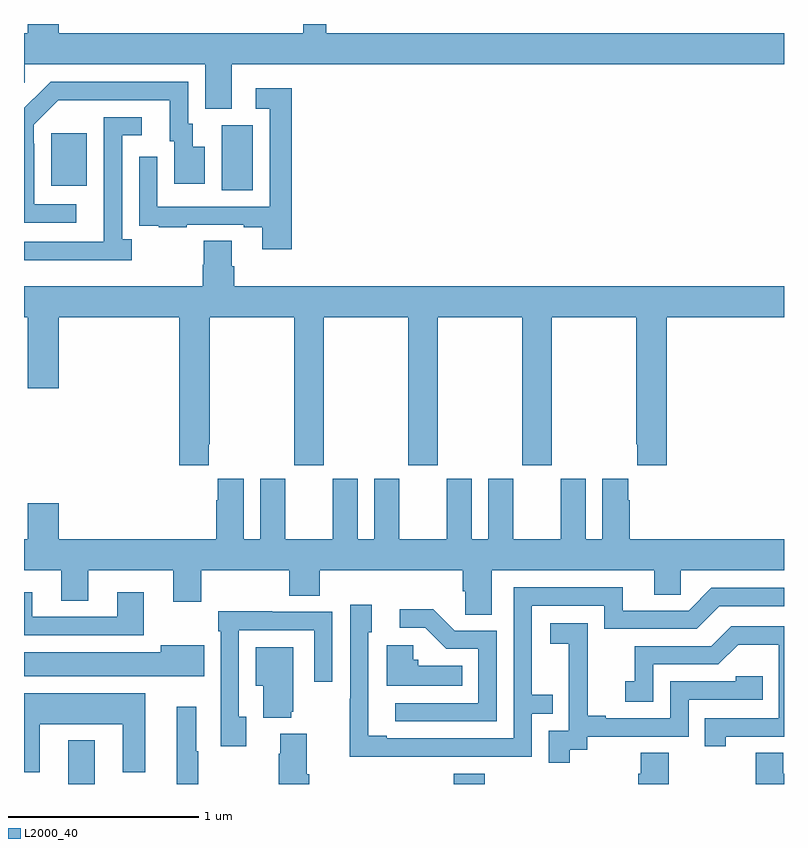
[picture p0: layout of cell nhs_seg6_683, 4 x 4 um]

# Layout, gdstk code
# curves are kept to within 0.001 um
import gdstk
lib = gdstk.Library(unit=1e-6, precision=1e-09)
def R(c, l, rs):  # rectangles x0, y0, x1, y1
    for r in rs: c.add(gdstk.rectangle(r[:2], r[2:], *l))
def P(c, l, *ps):  # polygons
    for p in ps: c.add(gdstk.Polygon(p, *l))
L2000_40 = (2000, 40)

nhs_seg6_683 = lib.new_cell('nhs_seg6_683')
R(nhs_seg6_683, L2000_40, [(153.233,991.5,153.373,991.729), (155.261,991.5,155.426,991.555), (154.04,994.624,154.204,994.968), (153.143,994.649,153.331,994.924)])
P(nhs_seg6_683, L2000_40, [(154.093,995.288),(157,995.288),(157,995.452),(154.591,995.452),(154.591,995.5),(154.469,995.5),(154.469,995.452),(153.184,995.452),(153.184,995.5),(153.02,995.5),(153.02,995.452),(153,995.452),(153,995.19),(153.003,995.19),(153.003,995.288),(153.953,995.288),(153.953,995.053),(154.093,995.053)],
  [(153.274,994.551),(153.054,994.551),(153.054,994.871),(153.051,994.871),(153.051,994.971),(153.18,995.1),(153.767,995.1),(153.767,994.884),(153.791,994.884),(153.791,994.659),(153.952,994.659),(153.952,994.855),(153.889,994.855),(153.889,994.974),(153.864,994.974),(153.864,995.196),(153.14,995.196),(153,995.058),(153,994.455),(153.274,994.455)],
  [(154.409,995.161),(154.221,995.161),(154.221,995.055),(154.293,995.055),(154.293,994.539),(153.702,994.539),(153.702,994.801),(153.606,994.801),(153.606,994.546),(153.607,994.546),(153.607,994.437),(153.709,994.437),(153.709,994.431),(153.857,994.431),(153.857,994.443),(154.157,994.443),(154.157,994.431),(154.253,994.431),(154.253,994.314),(154.409,994.314)],
  [(153.568,994.366),(153.516,994.366),(153.516,994.914),(153.619,994.914),(153.619,995.01),(153.42,995.01),(153.42,994.553),(153.419,994.553),(153.419,994.353),(153,994.353),(153,994.256),(153.568,994.256)],
  [(153.973,993.289),(153.978,993.289),(153.978,993.956),(154.423,993.956),(154.423,993.177),(154.578,993.177),(154.578,993.956),(155.023,993.956),(155.023,993.177),(155.178,993.177),(155.178,993.956),(155.623,993.956),(155.623,993.177),(155.778,993.177),(155.778,993.956),(156.223,993.956),(156.223,993.289),(156.227,993.289),(156.227,993.177),(156.383,993.177),(156.383,993.956),(157,993.956),(157,994.12),(154.106,994.12),(154.106,994.226),(154.093,994.226),(154.093,994.358),(153.946,994.358),(153.946,994.233),(153.941,994.233),(153.941,994.12),(153,994.12),(153,993.956),(153.02,993.956),(153.02,993.582),(153.184,993.582),(153.184,993.956),(153.818,993.956),(153.818,993.177),(153.973,993.177)],
  [(155.461,992.624),(156.317,992.624),(156.317,992.497),(156.456,992.497),(156.456,992.624),(157,992.624),(157,992.788),(156.188,992.788),(156.188,992.993),(156.181,992.993),(156.181,993.106),(156.044,993.106),(156.044,992.788),(155.956,992.788),(155.956,993.106),(155.825,993.106),(155.825,992.788),(155.575,992.788),(155.575,993.106),(155.444,993.106),(155.444,992.788),(155.356,992.788),(155.356,993.106),(155.225,993.106),(155.225,992.788),(154.975,992.788),(154.975,993.106),(154.844,993.106),(154.844,992.788),(154.756,992.788),(154.756,993.106),(154.625,993.106),(154.625,992.788),(154.375,992.788),(154.375,993.106),(154.244,993.106),(154.244,992.788),(154.156,992.788),(154.156,993.106),(154.019,993.106),(154.019,992.993),(154.013,992.993),(154.013,992.788),(153.184,992.788),(153.184,992.977),(153.02,992.977),(153.02,992.788),(153,992.788),(153,992.624),(153.197,992.624),(153.197,992.464),(153.337,992.464),(153.337,992.624),(153.785,992.624),(153.785,992.46),(153.933,992.46),(153.933,992.624),(154.396,992.624),(154.396,992.491),(154.556,992.491),(154.556,992.624),(155.309,992.624),(155.309,992.515),(155.322,992.515),(155.322,992.392),(155.461,992.392)],
  [(155.177,991.644),(155.673,991.644),(155.673,991.869),(155.783,991.869),(155.783,991.97),(155.673,991.97),(155.673,992.439),(156.054,992.439),(156.054,992.316),(156.54,992.316),(156.66,992.436),(157,992.436),(157,992.532),(156.618,992.532),(156.498,992.412),(156.151,992.412),(156.151,992.535),(155.577,992.535),(155.577,991.74),(154.909,991.74),(154.909,991.753),(154.812,991.753),(154.812,992.298),(154.831,992.298),(154.831,992.443),(154.716,992.443),(154.716,991.949),(154.714,991.949),(154.714,991.643)],
  [(153.631,992.509),(153.491,992.509),(153.491,992.379),(153.043,992.379),(153.043,992.509),(153,992.509),(153,992.283),(153.631,992.283)],
  [(155.487,992.307),(155.268,992.307),(155.155,992.42),(154.977,992.42),(154.977,992.322),(155.111,992.322),(155.222,992.211),(155.391,992.211),(155.391,991.926),(154.953,991.926),(154.953,991.83),(155.487,991.83)],
  [(154.171,991.854),(154.131,991.854),(154.131,992.31),(154.527,992.31),(154.527,992.037),(154.623,992.037),(154.623,992.406),(154.307,992.406),(154.307,992.408),(154.023,992.408),(154.023,992.303),(154.035,992.303),(154.035,991.698),(154.171,991.698)],
  [(155.872,991.681),(155.964,991.681),(155.964,991.749),(156.498,991.749),(156.498,991.944),(156.887,991.944),(156.887,992.067),(156.747,992.067),(156.747,992.04),(156.402,992.04),(156.402,991.845),(156.061,991.845),(156.061,991.858),(155.966,991.858),(155.966,992.141),(155.967,992.141),(155.967,992.347),(155.769,992.347),(155.769,992.237),(155.867,992.237),(155.867,992.009),(155.868,992.009),(155.868,991.779),(155.763,991.779),(155.763,991.611),(155.872,991.611)],
  [(156.694,991.749),(157,991.749),(157,992.331),(156.722,992.331),(156.617,992.226),(156.214,992.226),(156.214,992.041),(156.165,992.041),(156.165,991.932),(156.312,991.932),(156.312,992.13),(156.654,992.13),(156.758,992.234),(156.972,992.234),(156.972,991.845),(156.583,991.845),(156.583,991.698),(156.694,991.698)],
  [(153.949,992.23),(153.719,992.23),(153.719,992.194),(153,992.194),(153,992.066),(153.949,992.066)],
  [(155.306,992.122),(155.076,992.122),(155.076,992.154),(155.049,992.154),(155.049,992.23),(154.91,992.23),(154.91,992.018),(155.306,992.018)],
  [(154.406,991.881),(154.417,991.881),(154.417,992.221),(154.22,992.221),(154.22,992.018),(154.259,992.018),(154.259,991.85),(154.406,991.85)],
  [(153.082,991.814),(153.521,991.814),(153.521,991.563),(153.637,991.563),(153.637,991.978),(153,991.978),(153,991.563),(153.082,991.563)],
  [(153.917,991.673),(153.907,991.673),(153.907,991.906),(153.803,991.906),(153.803,991.5),(153.917,991.5)],
  [(154.502,991.552),(154.489,991.552),(154.489,991.765),(154.349,991.765),(154.349,991.658),(154.342,991.658),(154.342,991.5),(154.502,991.5)],
  [(157,991.554),(156.997,991.554),(156.997,991.664),(156.85,991.664),(156.85,991.5),(157,991.5)],
  [(156.393,991.664),(156.245,991.664),(156.245,991.554),(156.233,991.554),(156.233,991.5),(156.393,991.5)])

lib.write_gds('nhs_seg6_683.gds')
